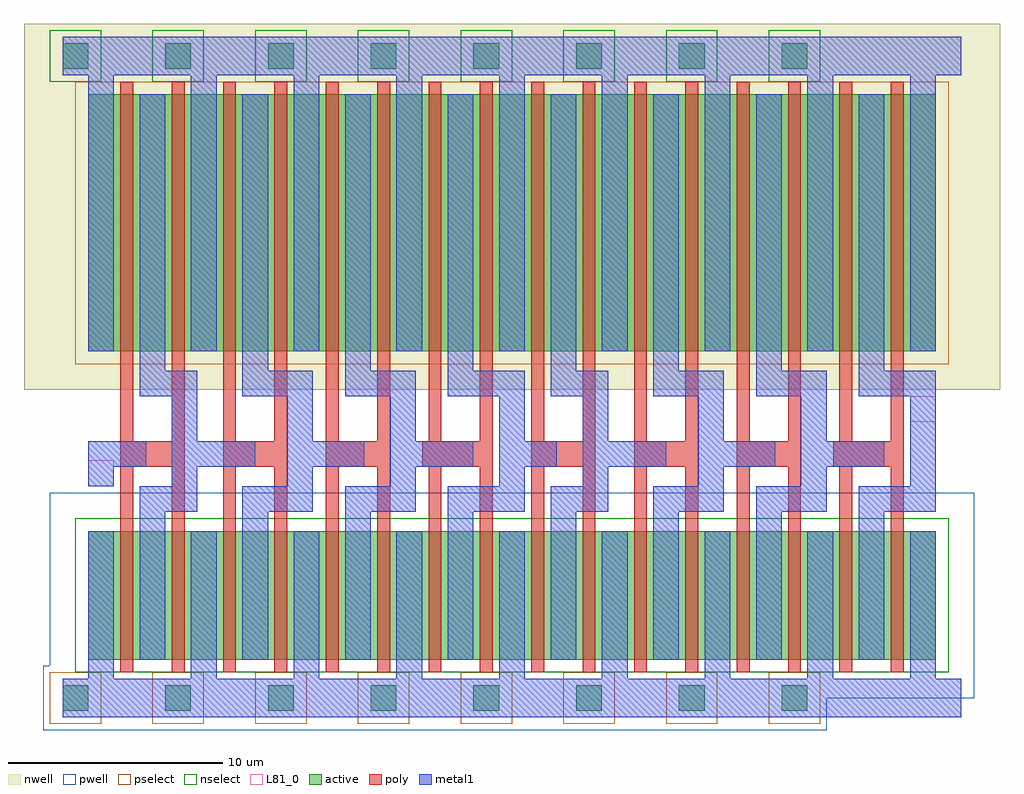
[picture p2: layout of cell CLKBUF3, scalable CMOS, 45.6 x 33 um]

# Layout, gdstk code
import gdstk
lib = gdstk.Library(unit=1e-6, precision=1e-09)
def R(c, l, rs):  # rectangles x0, y0, x1, y1
    for r in rs: c.add(gdstk.rectangle(r[:2], r[2:], *l))
def A(c, l, x, y, w, h, nx, ny, dx, dy):  # array of equal rectangles
    R(c, l, [(x+i*dx, y+j*dy, x+i*dx+w, y+j*dy+h) for i in range(nx) for j in range(ny)])
pwell = (41, 0)
nwell = (42, 0)
active = (43, 0)
pselect = (44, 0)
nselect = (45, 0)
poly = (46, 0)
metal1 = (49, 0)
L81_0 = (81, 0)

clkbuf3 = lib.new_cell('CLKBUF3')
R(clkbuf3, pwell, [(-1.5,-1.5,35.1,0), (-1.5,0,42,1.5), (-1.2,1.5,42,9.6)])
R(clkbuf3, nwell, [(-2.4,14.4,43.2,31.5)])
A(clkbuf3, active, -0.6, -0.6, 1.2, 1.2, 8, 2, 4.8, 30)
R(clkbuf3, active, [(0.6,1.8,40.2,7.8), (0.6,16.2,40.2,28.2)])
A(clkbuf3, pselect, -1.2, -1.2, 2.4, 2.4, 8, 1, 4.8, 0)
R(clkbuf3, pselect, [(0,15.6,40.8,28.8)])
A(clkbuf3, nselect, -1.2, 28.8, 2.4, 2.4, 8, 1, 4.8, 0)
R(clkbuf3, nselect, [(0,1.2,40.8,8.4)])
A(clkbuf3, poly, 2.1, 1.2, 0.6, 9.6, 16, 1, 2.4, 0)
A(clkbuf3, poly, 2.1, 10.8, 3, 1.2, 3, 1, 4.8, 0)
A(clkbuf3, poly, 21.3, 10.8, 3, 1.2, 3, 1, 4.8, 0)
A(clkbuf3, poly, 2.1, 12, 0.6, 16.8, 16, 1, 2.4, 0)
R(clkbuf3, poly, [(16.2,10.8,19.5,12), (35.4,10.8,38.7,12)])
A(clkbuf3, metal1, 0.6, 0.9, 1.2, 6.9, 9, 1, 4.8, 0)
A(clkbuf3, metal1, 3, 1.8, 1.2, 6.9, 8, 1, 4.8, 0)
A(clkbuf3, metal1, 3, 15.3, 1.2, 12.9, 8, 1, 4.8, 0)
A(clkbuf3, metal1, 0.6, 16.2, 1.2, 12.9, 9, 1, 4.8, 0)
R(clkbuf3, metal1, [(-0.6,-0.9,41.4,0.9), (3,8.7,5.7,9.9), (7.8,8.7,11.1,9.9), (12.6,8.7,15.9,9.9), (17.4,8.7,21,9.9), (22.2,8.7,24.9,9.9), (27,8.7,30.3,9.9), (31.8,8.7,35.1,9.9), (36.6,8.7,40.2,9.9), (0.6,9.9,1.8,10.8), (4.5,9.9,5.7,10.8), (9.9,9.9,11.1,10.8), (14.7,9.9,15.9,10.8), (19.8,9.9,21,10.8), (23.7,9.9,24.9,10.8), (29.1,9.9,30.3,10.8), (33.9,9.9,35.1,10.8), (39,9.9,40.2,14.1), (0.6,10.8,3.3,12), (4.5,10.8,8.4,12), (9.9,10.8,13.5,12), (14.7,10.8,18.6,12), (19.8,10.8,22.5,12), (23.7,10.8,27.6,12), (29.1,10.8,32.7,12), (33.9,10.8,37.8,12), (4.5,12,5.7,14.1), (9.9,12,11.1,14.1), (14.7,12,15.9,14.1), (19.8,12,21,14.1), (23.7,12,24.9,14.1), (29.1,12,30.3,14.1), (33.9,12,35.1,14.1), (3,14.1,5.7,15.3), (7.8,14.1,11.1,15.3), (12.6,14.1,15.9,15.3), (17.4,14.1,21,15.3), (22.2,14.1,24.9,15.3), (27,14.1,30.3,15.3), (31.8,14.1,35.1,15.3), (36.6,14.1,40.2,15.3), (-0.6,29.1,41.4,30.9)])
R(clkbuf3, L81_0, [(0.6,9.9,1.8,11.1), (39,12.9,40.2,14.1)])

lib.write_gds('CLKBUF3.gds')
